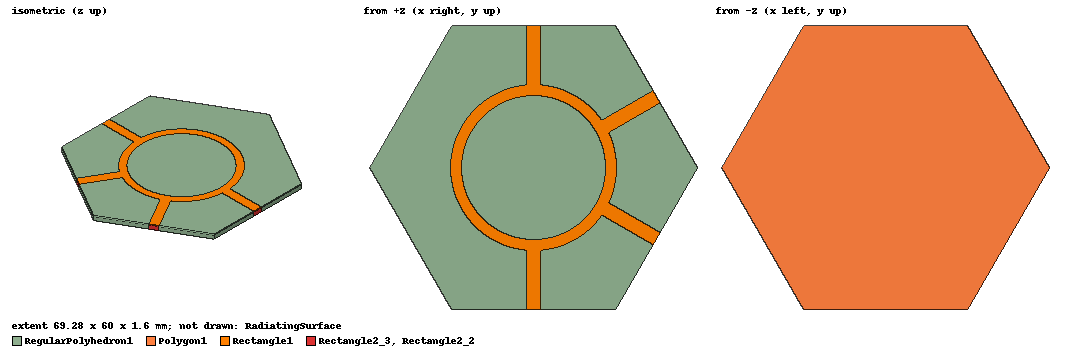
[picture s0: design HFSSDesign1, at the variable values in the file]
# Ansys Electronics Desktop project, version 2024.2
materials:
  vacuum: permittivity=1
  FR4_epoxy: permittivity=4.4 dielectric_loss_tangent=0.02

design HFSSDesign1 (HFSS, HFSS Terminal Network, model units mm)
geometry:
  Polygon1 = regular_polygon(axis=Z, centre=(0mm, 0mm, 0mm), first_corner=(30mm/cos(30*pi/180), 0mm, 0mm), sides=6)
  RegularPolyhedron1 [FR4_epoxy] = polyhedron(axis=Z, centre=(0mm, 0mm, 0mm), first_corner=(30mm/cos(30*pi/180), 0mm, 0), sides=6, height=1.6mm)
  Circle1 = circle(normal=Z, centre=(0mm, 0mm, 1.6mm), radius=17.52mm)
  Circle2 = circle(normal=Z, centre=(0mm, 0mm, 1.6mm), radius=15.2mm)
  Circle1.subtract(Circle2)
  Rectangle1 = rectangle(corner=(-1.5mm, -30mm, 1.6mm), x_size=3mm, y_size=14mm)
  Rectangle1_1, Rectangle1_2, Rectangle1_3 = Rectangle1.duplicate_around_axis(axis=Z, angle=60deg, total=4)
  Rectangle1.unite(Rectangle1_1, Rectangle1_2, Rectangle1_3, Circle1)
  Rectangle2 = rectangle(corner=(-1.5mm, -30mm, 1.6mm), z_size=-1.6mm, x_size=3mm)
  Rectangle2_1, Rectangle2_2, Rectangle2_3 = Rectangle2.duplicate_around_axis(axis=Z, angle=60deg, total=4)
  RadiatingSurface [vacuum] = region(absolute_offset=41.666667mm on all sides)
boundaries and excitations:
  PerfE1: Perfect E Objects=Rectangle1
  PerfE2: Perfect E Objects=Polygon1
  Open1: Radiation Objects=RadiatingSurface
  1: Lumped Port Objects=Rectangle2 LumpedPortType=Modal Modes{Mode1{IntLine{(0, -30, 0) -> (0, -30, 1.6)} CharImp=Zpi}} Impedance=50ohm
  2: Lumped Port Objects=Rectangle2_1 LumpedPortType=Modal Modes{Mode1{IntLine{(25.980762, -15, 0) -> (25.980762, -15, 1.6)} CharImp=Zpi}} Impedance=50ohm
  3: Lumped Port Objects=Rectangle2_2 LumpedPortType=Modal Modes{Mode1{IntLine{(25.980762, 15, 0) -> (25.980762, 15, 1.6)} CharImp=Zpi}} Impedance=50ohm
  4: Lumped Port Objects=Rectangle2_3 LumpedPortType=Modal Modes{Mode1{IntLine{(0, 30, 0) -> (0, 30, 1.6)} CharImp=Zpi}} Impedance=50ohm
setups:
  Setup1: HfssDriven Frequency=2.4GHz MaxDeltaS=0.02 MaximumPasses=6 MinimumPasses=1 MinimumConvergedPasses=1 PercentRefinement=30 BasisOrder=1 PortAccuracy=2 DrivenSolverType="Direct Solver"
    sweep Sweep: 1.2GHz to 3.6GHz, 401 points; Type=Interpolating InterpTolerance=0.5 InterpMaxSolns=250 PassivityErrorTolerance=0.0001
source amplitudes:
  1:1: 1V 0deg
  2:1, 3:1, 4:1: 0V 0deg
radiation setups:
  3D: Infinite Sphere Theta=0deg..180deg step 2deg Phi=-180deg..180deg step 2deg
  Elevation: Infinite Sphere Theta=-180deg..180deg step 1deg Phi=0deg..90deg step 90deg
  Azimuth: Infinite Sphere Theta=90deg..90deg step 0deg Phi=-180deg..180deg step 1deg
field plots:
  Mag_E1: E Field over Rectangle1.face(at (4.60538, 0, 1.6)) on Setup1 : LastAdaptive at Freq=2.4GHz Phase=0deg
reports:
  S Parameter Plot 1: dB(S(1,1)), dB(S(2,1)), dB(S(3,1)), dB(S(4,1)), dB(S(1,2)), dB(S(2,2)), dB(S(3,2)), dB(S(4,2)), dB(S(1,3)), dB(S(2,3)), dB(S(3,3)), dB(S(4,3)), dB(S(1,4)), dB(S(2,4)), dB(S(3,4)), dB(S(4,4)) vs Freq on Setup1 : Sweep
